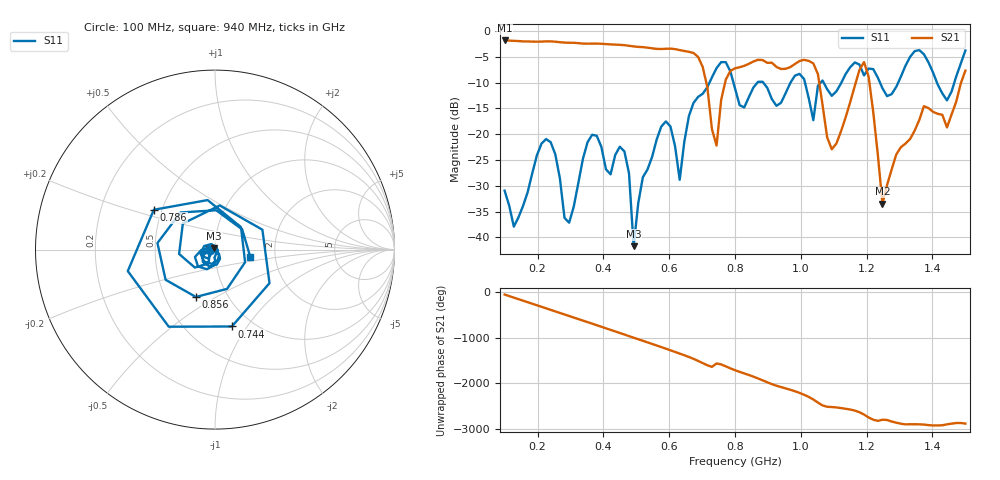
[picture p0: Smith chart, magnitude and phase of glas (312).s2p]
! NanoVNA-App
! Date: 2025-09-25 15:57:54
! Start: 100MHz Stop: 1,5GHz Points: 101
! S-Parameter data: F S11 S21 S12 S22
# Hz S RI R 50
!  Frequency  S11_Real  S11_Imag  S21_Real  S21_Imag  S12_Real  S12_Imag  S22_Real  S22_Imag
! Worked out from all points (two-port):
!   101 points, 100 MHz to 1.5 GHz, reference 50 ohm
!   highest |S21| = -1.80 dB at 100 MHz (marker M1); lowest = -33.5 dB at 1.248 GHz (marker M2)
!   |S21| within 3 dB of the highest: start of sweep to 684.3 MHz
!   lowest |S11| = -41.7 dB at 492 MHz (marker M3), VSWR 1.02, Z = 49.5 + j0.648 ohm
!   |S11| at or under -10 dB: start of sweep to 722.3 MHz; 795.3 MHz to 867.8 MHz (72.43 MHz wide, 8.71 % of centre); 886.1 MHz to 968.5 MHz (82.38 MHz wide, 8.88 % of centre) (the widest 3 of 7)
!   S12 and S22 are empty: the file has one direction only
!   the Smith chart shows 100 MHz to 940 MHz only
!   S11 on the Smith chart (normalised r, x): 100 MHz: 0.95, -0.01; 744 MHz: 0.80, -0.85; 786 MHz: 0.45, +0.24; 856 MHz: 0.71, -0.41; 940 MHz: 1.49, -0.13
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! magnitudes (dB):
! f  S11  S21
! 100 MHz  -30.9  -1.8
! 128 MHz  -37.9  -1.9
! 226 MHz  -20.9  -2.0
! 296 MHz  -37.2  -2.2
! 338 MHz  -24.8  -2.4
! 464 MHz  -23.3  -2.7
! 492 MHz  -41.7  -3.0
! 576 MHz  -18.5  -3.5
! 632 MHz  -28.8  -3.7
! 702 MHz  -12.1  -7.0
! 744 MHz  -7.2  -22.2
! 786 MHz  -7.8  -7.7
! 800 MHz  -11.1  -7.2
! 856 MHz  -10.9  -5.9
! 940 MHz  -13.9  -7.3
! 1.038 GHz  -17.3  -6.3
! 1.094 GHz  -12.6  -22.9
! 1.192 GHz  -8.6  -6.0
! 1.248 GHz  -11.1  -33.5
! 1.276 GHz  -12.2  -26.8
! 1.444 GHz  -13.4  -18.7
! 1.5 GHz  -3.7  -7.7
